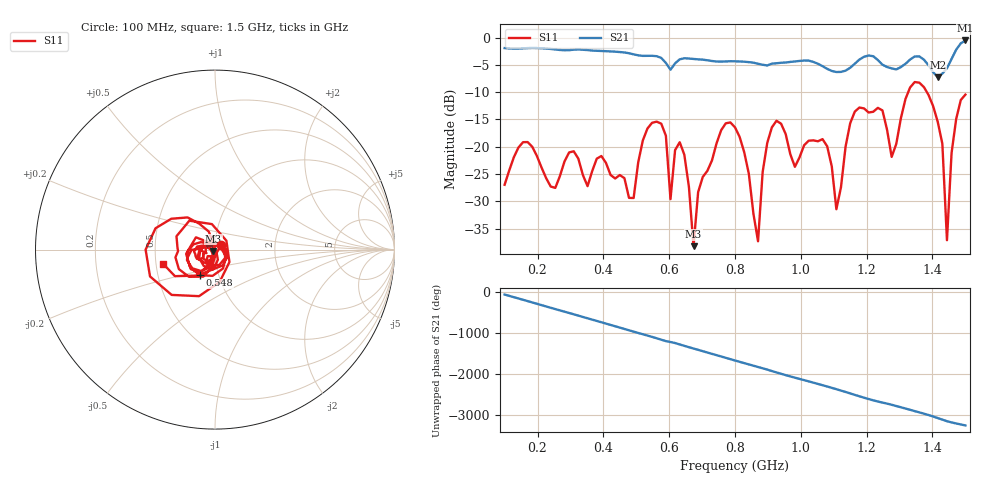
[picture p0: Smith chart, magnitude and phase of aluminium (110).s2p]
! NanoVNA-App
! Date: 2025-09-26 09:58:55
! Start: 100MHz Stop: 1,5GHz Points: 101
! S-Parameter data: F S11 S21 S12 S22
# Hz S RI R 50
!  Frequency  S11_Real  S11_Imag  S21_Real  S21_Imag  S12_Real  S12_Imag  S22_Real  S22_Imag
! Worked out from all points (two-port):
!   101 points, 100 MHz to 1.5 GHz, reference 50 ohm
!   highest |S21| = -0.52 dB at 1.5 GHz (marker M1); lowest = -7.2 dB at 1.416 GHz (marker M2)
!   |S21| within 3 dB of the highest: start of sweep to 567.1 MHz; 1.192 GHz to 1.222 GHz (30.45 MHz wide, 2.52 % of centre)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
!   lowest |S11| = -38.2 dB at 674 MHz (marker M3), VSWR 1.02, Z = 49 - j0.752 ohm
!   |S11| at or under -10 dB: start of sweep to 1.326 GHz; 1.383 GHz to end of sweep
!   S12 and S22 are empty: the file has one direction only
!   S11 on the Smith chart (normalised r, x): 100 MHz: 1.07, +0.06; 548 MHz: 0.81, -0.24; 1.5 GHz: 0.54, -0.09
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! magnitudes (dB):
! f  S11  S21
! 100 MHz  -27.0  -1.9
! 156 MHz  -19.2  -2.0
! 338 MHz  -25.2  -2.2
! 492 MHz  -29.4  -3.1
! 548 MHz  -15.6  -3.3
! 576 MHz  -15.8  -3.7
! 604 MHz  -29.6  -5.9
! 646 MHz  -21.5  -3.8
! 674 MHz  -38.2  -3.9
! 702 MHz  -25.6  -4.0
! 800 MHz  -16.4  -4.3
! 870 MHz  -37.3  -4.8
! 912 MHz  -16.5  -4.8
! 1.038 GHz  -18.8  -4.4
! 1.108 GHz  -31.5  -6.3
! 1.164 GHz  -13.6  -4.8
! 1.276 GHz  -21.9  -5.6
! 1.346 GHz  -8.1  -3.5
! 1.416 GHz  -15.4  -7.2
! 1.444 GHz  -37.1  -5.6
! 1.458 GHz  -21.1  -3.9
! 1.5 GHz  -10.4  -0.5
